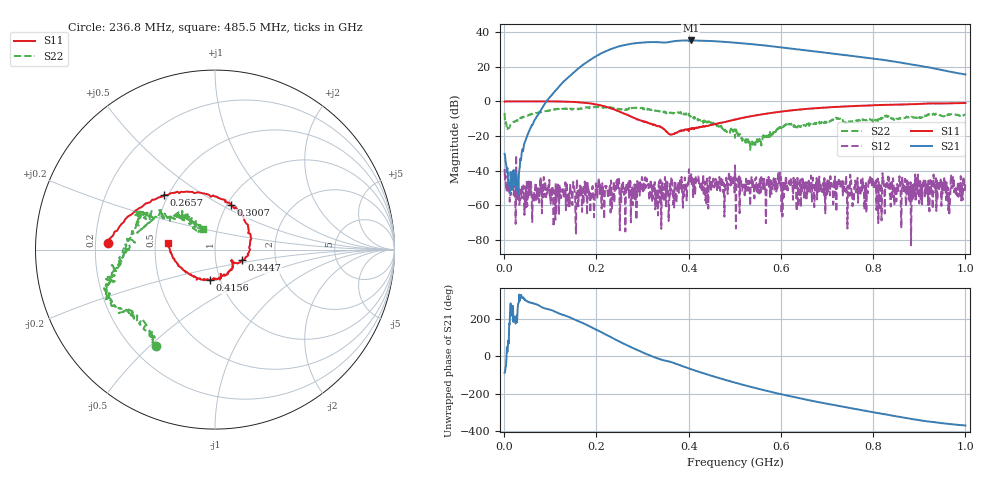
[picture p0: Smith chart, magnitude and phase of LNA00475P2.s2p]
! Created with skrf 1.9.0 (http://scikit-rf.org).
# Hz S RI R 50.0
!freq ReS11 ImS11 ReS21 ImS21 ReS12 ImS12 ReS22 ImS22
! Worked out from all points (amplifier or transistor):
!   1001 points, 1 MHz to 1 GHz, reference 50 ohm
!   highest |S21| = 35.2 dB at 404.6 MHz (marker M1)
!   |S21| within 3 dB of that: 255.5 MHz to 568.2 MHz (312.7 MHz wide, 75.9 % of centre)
!   unconditionally stable (mu >= 1): 299.1 MHz to 400.6 MHz; 400.7 MHz to 500.5 MHz; 500.5 MHz to end of sweep (the widest 3 of 43)
!   at 166.8 MHz: K = 1.87, MAG = 32.3 dB, |S12| = -55.0 dB
!   at 500.5 MHz: K = 0.98, MSG = 35.5 dB, |S12| = -37.0 dB
!   at 1 GHz: K = 2.54, MAG = 24.1 dB, |S12| = -46.3 dB
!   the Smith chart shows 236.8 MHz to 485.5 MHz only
!   S11 on the Smith chart (normalised r, x): 236.8 MHz: 0.25, +0.03; 265.7 MHz: 0.48, +0.35; 300.7 MHz: 1.05, +0.56; 344.7 MHz: 1.34, -0.16; 415.6 MHz: 0.89, -0.31; 485.5 MHz: 0.58, +0.05
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1000000  0.9776 0.00297  0.00095 -0.0304  -0.00588 0.00939  0.3469 0.3054
1.08892e8  0.5249 -0.8473  -0.8852 -1.645  0.00216 0.00149  0.4212 -0.3994
1.67833e8  -0.2277 -0.9017  -10.63 -0.3577  -0.00112 0.00341  0.0342 -0.6328
2.06794e8  -0.6389 -0.4404  -16.4 16.41  -0.000645 -0.00264  -0.1706 -0.6595
2.36764e8  -0.5945 0.0392  -3.91 34.39  -0.00242 -0.000509  -0.3292 -0.5368
2.65735e8  -0.2836 0.3039  21.67 37.8  -0.00283 0.00137  -0.4517 -0.3856
3.007e8  0.0894 0.2476  47.02 17.97  0.00157 0.00155  -0.5727 -0.1697
3.18682e8  0.1836 0.1309  51.94 2.521  -0.00347 0.00233  -0.5641 -0.1063
3.34666e8  0.1955 0.000484  50.18 -11.31  -0.00281 0.0019  -0.5225 -0.0304
3.44656e8  0.1511 -0.0586  46.98 -17.78  -0.0032 0.000483  -0.4942 0.0288
3.72628e8  0.0991 -0.0723  43.12 -35.73  0.00071 0.000935  -0.4241 0.1769
4.04596e8  0.0322 -0.1572  21.04 -53.8  -0.00316 0.00384  -0.3121 0.1946
4.15585e8  -0.0294 -0.1712  12.44 -55.98  0.0034 0.00548  -0.2444 0.1836
4.46554e8  -0.1623 -0.1279  -11.71 -54.4  0.000468 0.00258  -0.1503 0.1753
4.85515e8  -0.2642 0.0391  -33.65 -39.23  0.00395 0.00252  -0.0674 0.1167
5.005e8  -0.2764 0.1254  -39.12 -31.17  0.014 0.000499  -0.0585 0.0657
5.4046e8  -0.2122 0.3187  -43.52 -9.544  0.00424 -0.00227  -0.0645 -0.00017
5.88412e8  -0.0264 0.4815  -36.48 11.16  0.00523 -0.00322  -0.0899 -0.0935
6.67333e8  0.339 0.5206  -14.55 24.3  -0.00106 -0.000562  -0.2175 -0.0566
7.53247e8  0.6352 0.3524  3.385 20.36  0.000614 -0.00194  -0.2503 -0.00719
8.34166e8  0.786 0.1214  10.64 10.52  -0.00404 -0.00498  -0.353 -0.0176
1e9  0.8056 -0.3993  5.898 -1.205  -0.00481 0.000275  -0.3134 0.2602
